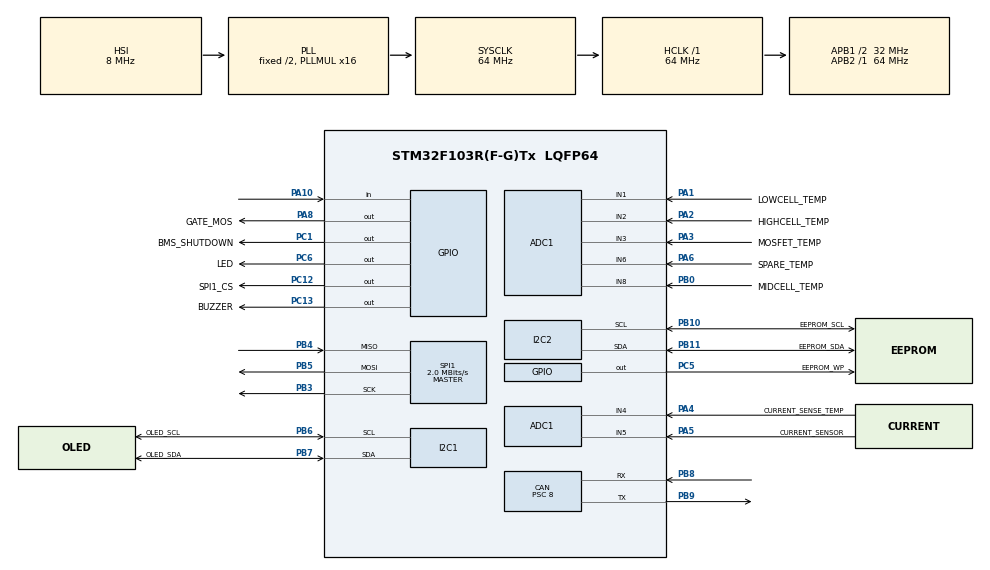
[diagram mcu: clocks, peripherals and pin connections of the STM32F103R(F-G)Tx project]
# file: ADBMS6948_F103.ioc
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ADC1.Channel-0\#ChannelRegularConversion=ADC_CHANNEL_1
ADC1.Channel-1\#ChannelRegularConversion=ADC_CHANNEL_2
ADC1.Channel-2\#ChannelRegularConversion=ADC_CHANNEL_3
ADC1.Channel-3\#ChannelRegularConversion=ADC_CHANNEL_4
ADC1.Channel-4\#ChannelRegularConversion=ADC_CHANNEL_5
ADC1.Channel-5\#ChannelRegularConversion=ADC_CHANNEL_6
ADC1.Channel-6\#ChannelRegularConversion=ADC_CHANNEL_8
ADC1.ContinuousConvMode=ENABLE
ADC1.NbrOfConversion=7
ADC1.NbrOfConversionFlag=1
ADC1.Rank-0\#ChannelRegularConversion=1
ADC1.Rank-1\#ChannelRegularConversion=2
ADC1.Rank-2\#ChannelRegularConversion=3
ADC1.Rank-3\#ChannelRegularConversion=4
ADC1.Rank-4\#ChannelRegularConversion=5
ADC1.Rank-5\#ChannelRegularConversion=6
ADC1.Rank-6\#ChannelRegularConversion=7
ADC1.SamplingTime-0\#ChannelRegularConversion=ADC_SAMPLETIME_239CYCLES_5
ADC1.SamplingTime-1\#ChannelRegularConversion=ADC_SAMPLETIME_239CYCLES_5
ADC1.SamplingTime-2\#ChannelRegularConversion=ADC_SAMPLETIME_239CYCLES_5
ADC1.SamplingTime-3\#ChannelRegularConversion=ADC_SAMPLETIME_239CYCLES_5
ADC1.SamplingTime-4\#ChannelRegularConversion=ADC_SAMPLETIME_239CYCLES_5
ADC1.SamplingTime-5\#ChannelRegularConversion=ADC_SAMPLETIME_239CYCLES_5
ADC1.SamplingTime-6\#ChannelRegularConversion=ADC_SAMPLETIME_239CYCLES_5
ADC1.master=1
CAN.BS1=CAN_BS1_13TQ
CAN.BS2=CAN_BS2_2TQ
CAN.CalculateBaudRate=250000
CAN.CalculateTimeBit=4000
CAN.CalculateTimeQuantum=250.0
CAN.Prescaler=8
Dma.ADC1.0.Direction=DMA_PERIPH_TO_MEMORY
Dma.ADC1.0.Instance=DMA1_Channel1
Dma.ADC1.0.MemDataAlignment=DMA_MDATAALIGN_HALFWORD
Dma.ADC1.0.MemInc=DMA_MINC_ENABLE
Dma.ADC1.0.Mode=DMA_CIRCULAR
Dma.ADC1.0.PeriphDataAlignment=DMA_PDATAALIGN_HALFWORD
Dma.ADC1.0.PeriphInc=DMA_PINC_DISABLE
Dma.ADC1.0.Priority=DMA_PRIORITY_LOW
Dma.Request0=ADC1
I2C1.I2C_Mode=I2C_Fast
IWDG.Prescaler=IWDG_PRESCALER_256
Mcu.Family=STM32F1
Mcu.Name=STM32F103R(F-G)Tx
Mcu.Package=LQFP64
NVIC.DMA1_Channel1_IRQn=true\:0\:0\:false\:false\:true\:false\:true
NVIC.PriorityGroup=NVIC_PRIORITYGROUP_4
NVIC.SPI1_IRQn=true\:0\:0\:false\:false\:true\:true\:true
NVIC.TIM2_IRQn=true\:0\:0\:false\:false\:true\:true\:true
NVIC.TIM3_IRQn=true\:0\:0\:false\:false\:true\:true\:true
NVIC.USB_LP_CAN1_RX0_IRQn=true\:0\:0\:false\:false\:true\:true\:true
PA1.GPIO_Label=LOWCELL_TEMP
PA1.Signal=ADCx_IN1
PA10.Signal=GPIO_Input
PA13.Mode=Serial_Wire
PA13.Signal=SYS_JTMS-SWDIO
PA14.Mode=Serial_Wire
PA14.Signal=SYS_JTCK-SWCLK
PA2.GPIO_Label=HIGHCELL_TEMP
PA2.Signal=ADCx_IN2
PA3.GPIO_Label=MOSFET_TEMP
PA3.Signal=ADCx_IN3
PA4.GPIO_Label=CURRENT_SENSE_TEMP
PA4.Signal=ADCx_IN4
PA5.GPIO_Label=CURRENT_SENSOR
PA5.Signal=ADCx_IN5
PA6.GPIO_Label=SPARE_TEMP
PA6.Signal=ADCx_IN6
PA8.GPIO_Label=GATE_MOS
PA8.GPIO_PuPd=GPIO_PULLDOWN
PA8.Signal=GPIO_Output
PB0.GPIO_Label=MIDCELL_TEMP
PB0.Signal=ADCx_IN8
PB10.GPIO_Label=EEPROM_SCL
PB10.Mode=I2C
PB10.Signal=I2C2_SCL
PB11.GPIO_Label=EEPROM_SDA
PB11.Mode=I2C
PB11.Signal=I2C2_SDA
PB3.Mode=Full_Duplex_Master
PB3.Signal=SPI1_SCK
PB4.Mode=Full_Duplex_Master
PB4.Signal=SPI1_MISO
PB5.Mode=Full_Duplex_Master
PB5.Signal=SPI1_MOSI
PB6.GPIO_Label=OLED_SCL
PB6.Mode=I2C
PB6.Signal=I2C1_SCL
PB7.GPIO_Label=OLED_SDA
PB7.Mode=I2C
PB7.Signal=I2C1_SDA
PB8.Mode=CAN_Activate
PB8.Signal=CAN_RX
PB9.Mode=CAN_Activate
PB9.Signal=CAN_TX
PC1.GPIO_Label=BMS_SHUTDOWN
PC1.GPIO_PuPd=GPIO_PULLDOWN
PC1.Signal=GPIO_Output
PC12.GPIO_Label=SPI1_CS
PC12.Signal=GPIO_Output
PC13-TAMPER-RTC.GPIO_Label=BUZZER
PC13-TAMPER-RTC.GPIO_PuPd=GPIO_PULLDOWN
PC13-TAMPER-RTC.Signal=GPIO_Output
PC5.GPIO_Label=EEPROM_WP
PC5.Signal=GPIO_Output
PC6.GPIO_Label=LED
PC6.Signal=GPIO_Output
ProjectManager.HeapSize=0x200
ProjectManager.StackSize=0x400
ProjectManager.TargetToolchain=STM32CubeIDE
RCC.ADCPresc=RCC_ADCPCLK2_DIV6
RCC.AHBFreq_Value=64000000
RCC.APB1CLKDivider=RCC_HCLK_DIV2
RCC.APB1Freq_Value=32000000
RCC.APB1TimFreq_Value=64000000
RCC.APB2Freq_Value=64000000
RCC.APB2TimFreq_Value=64000000
RCC.HCLKFreq_Value=64000000
RCC.PLLMUL=RCC_PLL_MUL16
RCC.SYSCLKFreq_VALUE=64000000
RCC.SYSCLKSource=RCC_SYSCLKSOURCE_PLLCLK
RCC.USBFreq_Value=64000000
SH.ADCx_IN1.0=ADC1_IN1,IN1
SH.ADCx_IN2.0=ADC1_IN2,IN2
SH.ADCx_IN3.0=ADC1_IN3,IN3
SH.ADCx_IN4.0=ADC1_IN4,IN4
SH.ADCx_IN5.0=ADC1_IN5,IN5
SH.ADCx_IN6.0=ADC1_IN6,IN6
SH.ADCx_IN8.0=ADC1_IN8,IN8
SPI1.BaudRatePrescaler=SPI_BAUDRATEPRESCALER_32
SPI1.CalculateBaudRate=2.0 MBits/s
SPI1.Direction=SPI_DIRECTION_2LINES
SPI1.Mode=SPI_MODE_MASTER
SPI1.VirtualType=VM_MASTER
TIM2.Period=999
TIM2.Prescaler=639
TIM3.Period=333
TIM3.Prescaler=6399
VP_IWDG_VS_IWDG.Mode=IWDG_Activate
VP_TIM2_VS_ClockSourceINT.Mode=Internal
VP_TIM3_VS_ClockSourceINT.Mode=Internal
board=custom

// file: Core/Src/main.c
/* USER CODE BEGIN Header */
/**
  ******************************************************************************
  * @file           : main.c
  * @brief          : Main program body
  ******************************************************************************
  * @attention
  *
  * Copyright (c) 2022 STMicroelectronics.
  * All rights reserved.
  *
  * This software is licensed under terms that can be found in the LICENSE file
  * in the root directory of this software component.
  * If no LICENSE file comes with this software, it is provided AS-IS.
  *
  ******************************************************************************
  */
/* USER CODE END Header */
#include "main.h"
#include "adc.h"
#include "can.h"
#include "dma.h"
#include "i2c.h"
#include "iwdg.h"
#include "spi.h"
#include "tim.h"
#include "gpio.h"

/* USER CODE BEGIN Includes */
//#include "ssd1306.h"
#include "stdio.h"
#include <stdlib.h>
#include <string.h>
#include <stdbool.h>
#include "EEPROM.h"
#include "Battery_Charge_Discharge.h"
#include "ctype.h"
#include "Adbms6948_Applications.h"
#include "Adbms6948/lib/Adbms6948_Common.h"
/* USER CODE END Includes */

/* USER CODE BEGIN PTD */
#define VBATT_BALANCE_START 33
#define VCELL_BALANCE_PERMITTED 3.3
/* USER CODE END PTD */

/* USER CODE BEGIN PV */
char 	buff_lcd[20];	//variable buff lcd-oled
char	lower_UNIQUE_Code[5],
		UPPER_UNIQUE_Code[5];
uint8_t	BATT_State;
uint8_t BATT_Start_Up = 0;

/* USER CODE END PV */

void SystemClock_Config(void);

/* USER CODE BEGIN 0 */
const uint8_t knChainId = 0u;
int nRet = 0;
float CellVoltage[16], Current;
float pack_voltage;
const float Cell_UnderVoltage_Threshold = 2.7;
const float Cell_OverVoltage_Threshold = 4.2;

//Variabel timer sleep and shutdown ketika tidak menerima CAN
int Sleep_tick=10000,
	Shutdown_tick=15000;
/* USER CODE END 0 */

int main(void)
{

  /* MCU Configuration--------------------------------------------------------*/

  /* Reset of all peripherals, Initializes the Flash interface and the Systick. */
  HAL_Init();

  /* Configure the system clock */
  SystemClock_Config();

  /* Initialize all configured peripherals */
  MX_GPIO_Init();
  MX_DMA_Init();
  MX_ADC1_Init();
  MX_CAN_Init();
  MX_I2C1_Init();
  MX_TIM2_Init();
  MX_TIM3_Init();
  MX_I2C2_Init();
  MX_IWDG_Init();
  MX_SPI1_Init();
  /* USER CODE BEGIN 2 */

  BMS_Init();

  /* USER CODE END 2 */

  /* Infinite loop */
  while (1)
  {

    /* USER CODE BEGIN 3 */
	  //Read voltage per-cell and total voltage
	  Adbms6948_measure_cells(knChainId, nRet);
	  pack_voltage = Calculate_Pack_Voltage (CellVoltage);

	  //Onder & Over voltage per-cell protection
	  isCell_UnderVoltage(CellVoltage);
	  isCell_OverVoltage(CellVoltage);

	  //Read Current
	  Adbms6948_measure_current(knChainId, nRet);

	  //comparing cell voltage to get
	  unbalance_cell = get_balance_status(CellVoltage);

	  // Balancing Process (arus charging 0.1 tidak perlu di balancing)
	  if(BMS_mode == 2 && IBATT < -0.1 && (VBATT > VBATT_BALANCE_START)) {
		  Adbms6948_Discharge_Cell(balance_status);
	  }
	  else {
		  Adbms6948_Discharge_Cell(0);
	  }

	  LED_Toggle;
	  HAL_Delay(10);

	  BMS_ScreenMode_RUN();
	  HAL_IWDG_Refresh(&hiwdg);
  }
  /* USER CODE END 3 */
}

void SystemClock_Config(void)
{
  RCC_OscInitTypeDef RCC_OscInitStruct = {0};
  RCC_ClkInitTypeDef RCC_ClkInitStruct = {0};
  RCC_PeriphCLKInitTypeDef PeriphClkInit = {0};

  /** Initializes the RCC Oscillators according to the specified parameters
  * in the RCC_OscInitTypeDef structure.
  */
  RCC_OscInitStruct.OscillatorType = RCC_OSCILLATORTYPE_HSI|RCC_OSCILLATORTYPE_LSI;
  RCC_OscInitStruct.HSIState = RCC_HSI_ON;
  RCC_OscInitStruct.HSICalibrationValue = RCC_HSICALIBRATION_DEFAULT;
  RCC_OscInitStruct.LSIState = RCC_LSI_ON;
  RCC_OscInitStruct.PLL.PLLState = RCC_PLL_ON;
  RCC_OscInitStruct.PLL.PLLSource = RCC_PLLSOURCE_HSI_DIV2;
  RCC_OscInitStruct.PLL.PLLMUL = RCC_PLL_MUL16;
  if (HAL_RCC_OscConfig(&RCC_OscInitStruct) != HAL_OK)
  {
    Error_Handler();
  }
  /** Initializes the CPU, AHB and APB buses clocks
  */
  RCC_ClkInitStruct.ClockType = RCC_CLOCKTYPE_HCLK|RCC_CLOCKTYPE_SYSCLK
                              |RCC_CLOCKTYPE_PCLK1|RCC_CLOCKTYPE_PCLK2;
  RCC_ClkInitStruct.SYSCLKSource = RCC_SYSCLKSOURCE_PLLCLK;
  RCC_ClkInitStruct.AHBCLKDivider = RCC_SYSCLK_DIV1;
  RCC_ClkInitStruct.APB1CLKDivider = RCC_HCLK_DIV2;
  RCC_ClkInitStruct.APB2CLKDivider = RCC_HCLK_DIV1;

  if (HAL_RCC_ClockConfig(&RCC_ClkInitStruct, FLASH_LATENCY_2) != HAL_OK)
  {
    Error_Handler();
  }
  PeriphClkInit.PeriphClockSelection = RCC_PERIPHCLK_ADC;
  PeriphClkInit.AdcClockSelection = RCC_ADCPCLK2_DIV6;
  if (HAL_RCCEx_PeriphCLKConfig(&PeriphClkInit) != HAL_OK)
  {
    Error_Handler();
  }
}

/* USER CODE BEGIN 4 */
void BMS_Init(void)
{
	itoa(UNIQUE_Code, lower_UNIQUE_Code, 16);
	int ii=0;
	while(ii<6){
		UPPER_UNIQUE_Code[ii] = toupper(lower_UNIQUE_Code[ii]);
		ii++;
	}
	//beep startup indicator
	StartUp_Buzzer();
	//ADBMS6948 initialization
	Adbms_Init(NULL);

	SSD1306_Init();
	HAL_Delay(500);
	SSD1306_Fill(SSD1306_COLOR_BLACK);
	SSD1306_UpdateScreen();

	SSD1306_GotoXY (30,10);
	SSD1306_Puts ("GEN-I BMS", &Font_7x10, 1);
	SSD1306_GotoXY (40, 30);
	SSD1306_Puts ("10S13P", &Font_7x10, 1);
	SSD1306_UpdateScreen(); //display
	SSD1306_Fill (0);
	HAL_Delay(10);

	HAL_ADC_Start_DMA(&hadc1, (uint32_t *) &adc_value, 7);
	HAL_TIM_Base_Start_IT(&htim2);
	HAL_TIM_Base_Start_IT(&htim3);

	BATT_State=STATE_STANDBY;
	Batt_Open_Mode();
	BATT_Start_Up = 1;
	flag_start_shutdown = 0;
	HAL_Delay(1);
	EEPROM_isDeviceReady(0xA0);
	BMS_CAN_Config();
	HAL_Delay(10);
}

void BMS_ScreenMode_RUN(void)
{
	if(flag_start_shutdown == 0)
	{
		SSD1306_Fill(SSD1306_COLOR_BLACK);
		sprintf(buff_lcd,"RUNNING");
		SSD1306_GotoXY(40,18);
		SSD1306_Puts(buff_lcd, &Font_7x10, SSD1306_COLOR_WHITE);

		sprintf(buff_lcd,"SLEEP_STATE");
		SSD1306_GotoXY(25,38);
		SSD1306_Puts(buff_lcd, &Font_7x10, SSD1306_COLOR_WHITE);
		SSD1306_UpdateScreen();

		Batt_Open_Mode();
		Reset_FlagProtection();

		if(last_flag_start_shutdown==1) Shutdown_time_last = HAL_GetTick();

		// Automatic sleep after 30s without receive CAN
		Shutdown_time=HAL_GetTick();
		if(Shutdown_time-Shutdown_time_last>Shutdown_tick){
			ShutDown_Buzzer();
			HAL_GPIO_WritePin(BMS_SHUTDOWN_GPIO_Port, BMS_SHUTDOWN_Pin, 1);
		}
		last_flag_start_shutdown = 0;
	}

	else {
		SSD1306_Fill(SSD1306_COLOR_BLACK);
		if(BATT_State==STATE_CHARGE)
			sprintf(buff_lcd,"RUN (C) - %05s", UPPER_UNIQUE_Code);

		else if(BATT_State==STATE_DISCHARGE)
			sprintf(buff_lcd,"RUN (D) - %05s", UPPER_UNIQUE_Code);

		else if(BATT_State==STATE_FULL_CHARGE_DISCHARGE)
			sprintf(buff_lcd,"RUN (C/D) - %05s", UPPER_UNIQUE_Code);

		else if(BATT_State==STATE_STANDBY)
			sprintf(buff_lcd,"RUN (Open) - %05s", UPPER_UNIQUE_Code);

		SSD1306_GotoXY(0,0);
		SSD1306_Puts(buff_lcd, &Font_7x10, SSD1306_COLOR_WHITE);

		sprintf(buff_lcd,"V=%6.2f I=%6.2f",VBATT, IBATT);
		SSD1306_GotoXY(0,10);
		SSD1306_Puts(buff_lcd, &Font_7x10, SSD1306_COLOR_WHITE);
		sprintf(buff_lcd,"T=%3.0f|%3.0f|%3.0f|%3.0f", Suhu_T1, Suhu_T2, Suhu_T3, Suhu_T4);
		SSD1306_GotoXY(0,20);
		SSD1306_Puts(buff_lcd, &Font_7x10, SSD1306_COLOR_WHITE);
		sprintf(buff_lcd,"C=%5.1f%%--%5.1f%%",Pack_SOC,SOC_manipulasi);
		SSD1306_GotoXY(0,30);
		SSD1306_Puts(buff_lcd, &Font_7x10, SSD1306_COLOR_WHITE);
		sprintf(buff_lcd,"B=%5d|%4.2f|%4.2f",unbalance_cell, persen_imbalance, OFFSET_SENSOR_ARUS);
		SSD1306_GotoXY(0,40);
		SSD1306_Puts(buff_lcd, &Font_7x10, SSD1306_COLOR_WHITE);
		sprintf(buff_lcd,"%d-%d--%4.2f| %5.0f",fault_code,last_fault_code,Isc, AH_Consumption);
		SSD1306_GotoXY(0,50);
		SSD1306_Puts(buff_lcd, &Font_7x10, SSD1306_COLOR_WHITE);

		SSD1306_UpdateScreen();

		if(BMS_mode==0) Batt_Open_Mode();
		else if(BMS_mode==1) Batt_Discharge_Mode();
		else if(BMS_mode==2) Batt_Charge_Mode();
		else if(BMS_mode==3) Batt_Full_CD_Mode();

	//  Automatically sleep after 30s without receive CAN
		Sleep_time=HAL_GetTick();
		if(Sleep_time-Active_time_last>Sleep_tick)
		{
			BMS_mode=0;
			flag_start_shutdown=0;
		}
		last_flag_start_shutdown = 1;
	}
	HAL_Delay(1);
}

float Calculate_Pack_Voltage (float Cell_Voltage_10data[10])
{
	float sum_voltage;
	float buffer_voltage;
	for(uint8_t ij=0; ij<10; ij++){
		buffer_voltage += Cell_Voltage_10data[ij];
	}
	sum_voltage = buffer_voltage;
	buffer_voltage = 0;

	return sum_voltage;
}

uint16_t get_balance_status(float Cell_Voltage_10data[10])
{
	uint16_t balance_status;
	float Cell_Voltage_Lowest = 4.2;
	float delta_vbatt[10];
	balance_status=0x0000;
	uint16_t temp_dat;
	float buffer_imbalance;

	for(int ik=0;ik<10;ik++) {
		if(Cell_Voltage_10data[ik] < Cell_Voltage_Lowest)
			Cell_Voltage_Lowest = Cell_Voltage_10data[ik];
	}

	for(int ik=0;ik<10;ik++) {
		delta_vbatt[ik] = Cell_Voltage_10data[ik] - Cell_Voltage_Lowest;

		buffer_imbalance+=delta_vbatt[ik];

		if(delta_vbatt[ik]> 0.025 && Cell_Voltage_10data[ik] > VCELL_BALANCE_PERMITTED) {
			temp_dat = 0x01;
			temp_dat = temp_dat << ik;
			balance_status= balance_status+temp_dat;
		}
	}
	persen_imbalance=buffer_imbalance*100/9.0/1.2;
	return(balance_status);
}

void isCell_UnderVoltage(float Cell_Voltage_10data[10]){
	for(uint8_t kl=0; kl<10; kl++){
		if (CellVoltage[kl] < Cell_UnderVoltage_Threshold) {
			fault_code = 15;
			Batt_Open_Mode();
			flag_trip_cellundervoltage = ON;
			Cell_UnderVoltage = YES;
		}
		else Cell_UnderVoltage = NO;
	}
}

void isCell_OverVoltage(float Cell_Voltage_10data[10]){
	for(uint8_t kl=0; kl<10; kl++){
		if (CellVoltage[kl] > Cell_OverVoltage_Threshold) {
			fault_code = 16;
			Batt_Open_Mode();
			flag_trip_cellovervoltage = ON;
			Cell_OverVoltage = YES;
		}
		else Cell_OverVoltage = NO;
	}
}

void Reset_FlagProtection(void){
	flag_trip_overtemperature=OFF;
	flag_trip_undertemperature=OFF;
	flag_trip_SOCOverDischarge=OFF;
	flag_trip_SOCOverCharge=OFF;			//di tiada kan..!
	flag_trip_undervoltage=OFF;
	flag_trip_overvoltage=OFF;
	flag_trip_overcurrentdischarge=OFF;
	flag_trip_overcurrentcharge=OFF;
	flag_trip_shortcircuit=OFF;
	flag_trip_systemfailure=OFF;
	flag_trip_unbalance=OFF;
	flag_get_UNIQUECODE=OFF;
	flag_trip_cellovervoltage = OFF;
	flag_trip_cellundervoltage = OFF;
}

void StartUp_Buzzer(void)
{
	BUZZ_Write(1); HAL_Delay(500);
	BUZZ_Toggle; HAL_Delay(500);
	BUZZ_Toggle; HAL_Delay(100);
	BUZZ_Toggle; HAL_Delay(100);
	BUZZ_Toggle; HAL_Delay(100);
	BUZZ_Write(0); HAL_Delay(100);
}

void ShutDown_Buzzer(void)
{
	BUZZ_Write(1); HAL_Delay(100);
	BUZZ_Toggle; HAL_Delay(100);
	BUZZ_Toggle; HAL_Delay(100);
	BUZZ_Toggle; HAL_Delay(100);
	BUZZ_Toggle; HAL_Delay(750);
	BUZZ_Write(0); HAL_Delay(100);
}
/* USER CODE END 4 */

void Error_Handler(void)
{
  __disable_irq();
  while (1)
  {
  }
}
